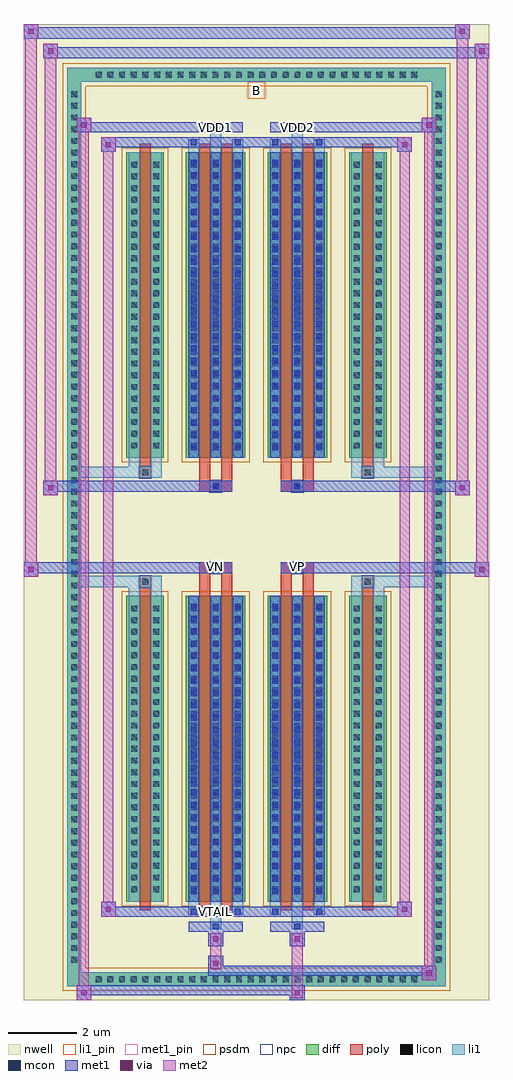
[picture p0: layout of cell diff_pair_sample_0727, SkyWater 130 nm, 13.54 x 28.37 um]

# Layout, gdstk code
import gdstk
lib = gdstk.Library(unit=1e-6, precision=5e-09)
def R(c, l, rs):  # rectangles x0, y0, x1, y1
    for r in rs: c.add(gdstk.rectangle(r[:2], r[2:], *l))
def A(c, l, x, y, w, h, nx, ny, dx, dy):  # array of equal rectangles
    R(c, l, [(x+i*dx, y+j*dy, x+i*dx+w, y+j*dy+h) for i in range(nx) for j in range(ny)])
def P(c, l, *ps):  # polygons
    for p in ps: c.add(gdstk.Polygon(p, *l))
nwell = (64, 20)
diff = (65, 20)
poly = (66, 20)
licon = (66, 44)
li1_pin = (67, 16)
li1 = (67, 20)
mcon = (67, 44)
met1_pin = (68, 16)
met1 = (68, 20)
via = (68, 44)
met2 = (69, 20)
psdm = (94, 20)
npc = (95, 20)

diff_pair_sample_0727 = lib.new_cell('diff_pair_sample_0727')
R(diff_pair_sample_0727, nwell, [(-6.77,-13.75,6.77,14.62), (-4.09,-11.94,-0.01,-0.82), (0.01,-11.94,4.09,-0.82), (-4.09,0.82,-0.01,11.94), (0.01,0.82,4.09,11.94)])
A(diff_pair_sample_0727, diff, -4.795, -13.35, 0.41, 0.41, 28, 2, 0.34, 26.29)
A(diff_pair_sample_0727, diff, -5.5, -12.785, 0.41, 0.41, 1, 75, 0, 0.34)
A(diff_pair_sample_0727, diff, 5.09, -12.785, 0.41, 0.41, 1, 75, 0, 0.34)
R(diff_pair_sample_0727, diff, [(-4.795,-13.35,4.795,-12.94), (-5.5,-12.785,-5.09,12.785), (5.09,-12.785,5.5,12.785), (-3.78,-10.895,-2.69,-2.005), (-2.05,-10.895,-0.32,-2.005), (0.32,-10.895,2.05,-2.005), (2.69,-10.895,3.78,-2.005), (-3.78,2.005,-2.69,10.895), (-2.05,2.005,-0.32,10.895), (0.32,2.005,2.05,10.895), (2.69,2.005,3.78,10.895), (-4.795,12.94,4.795,13.35)])
P(diff_pair_sample_0727, diff, [(5.5,13.35),(-5.5,13.35),(-5.5,-12.94),(-5.09,-12.94),(-5.09,12.94),(5.09,12.94),(5.09,-12.94),(-5.09,-12.94),(-5.5,-12.94),(-5.5,-13.35),(5.5,-13.35)])
R(diff_pair_sample_0727, poly, [(-3.39,-11.145,-3.08,-1.755), (-1.66,-11.145,-1.35,-1.755), (-1.02,-11.145,-0.71,-1.755), (0.71,-11.145,1.02,-1.755), (1.35,-11.145,1.66,-1.755), (3.08,-11.145,3.39,-1.755), (-3.4,-1.755,-3.07,-1.425), (-3.4,-1.755,-3.07,-1.425), (-1.66,-1.755,-1.35,-1.35), (-1.02,-1.755,-0.71,-1.35), (0.71,-1.755,1.02,-1.35), (1.35,-1.755,1.66,-1.35), (3.07,-1.755,3.4,-1.425), (3.07,-1.755,3.4,-1.425), (-1.66,-1.35,-0.71,-1.02), (-1.35,-1.35,-1.02,-1.02), (0.71,-1.35,1.66,-1.02), (1.02,-1.35,1.35,-1.02), (-1.66,1.02,-0.71,1.35), (-1.35,1.02,-1.02,1.35), (0.71,1.02,1.66,1.35), (1.02,1.02,1.35,1.35), (-1.66,1.35,-1.35,1.755), (-1.02,1.35,-0.71,1.755), (0.71,1.35,1.02,1.755), (1.35,1.35,1.66,1.755), (-3.4,1.425,-3.07,1.755), (-3.4,1.425,-3.07,1.755), (3.07,1.425,3.4,1.755), (3.07,1.425,3.4,1.755), (-3.39,1.755,-3.08,11.145), (-1.66,1.755,-1.35,11.145), (-1.02,1.755,-0.71,11.145), (0.71,1.755,1.02,11.145), (1.35,1.755,1.66,11.145), (3.08,1.755,3.39,11.145)])
A(diff_pair_sample_0727, licon, -4.675, -13.23, 0.17, 0.17, 28, 2, 0.34, 26.29)
A(diff_pair_sample_0727, licon, -5.38, -12.665, 0.17, 0.17, 1, 75, 0, 0.34)
A(diff_pair_sample_0727, licon, 5.21, -12.665, 0.17, 0.17, 1, 75, 0, 0.34)
A(diff_pair_sample_0727, licon, -3.64, -10.615, 0.17, 0.17, 1, 25, 0, 0.34)
A(diff_pair_sample_0727, licon, -3, -10.615, 0.17, 0.17, 1, 25, 0, 0.34)
A(diff_pair_sample_0727, licon, -1.91, -10.615, 0.17, 0.17, 3, 25, 0.64, 0.34)
A(diff_pair_sample_0727, licon, 0.46, -10.615, 0.17, 0.17, 3, 25, 0.64, 0.34)
A(diff_pair_sample_0727, licon, 2.83, -10.615, 0.17, 0.17, 1, 25, 0, 0.34)
A(diff_pair_sample_0727, licon, 3.47, -10.615, 0.17, 0.17, 1, 25, 0, 0.34)
A(diff_pair_sample_0727, licon, -3.64, 2.285, 0.17, 0.17, 1, 25, 0, 0.34)
A(diff_pair_sample_0727, licon, -3, 2.285, 0.17, 0.17, 1, 25, 0, 0.34)
A(diff_pair_sample_0727, licon, -1.91, 2.285, 0.17, 0.17, 3, 25, 0.64, 0.34)
A(diff_pair_sample_0727, licon, 0.46, 2.285, 0.17, 0.17, 3, 25, 0.64, 0.34)
A(diff_pair_sample_0727, licon, 2.83, 2.285, 0.17, 0.17, 1, 25, 0, 0.34)
A(diff_pair_sample_0727, licon, 3.47, 2.285, 0.17, 0.17, 1, 25, 0, 0.34)
R(diff_pair_sample_0727, licon, [(-3.32,-1.675,-3.15,-1.505), (3.15,-1.675,3.32,-1.505), (-1.27,-1.27,-1.1,-1.1), (1.1,-1.27,1.27,-1.1), (-1.27,1.1,-1.1,1.27), (1.1,1.1,1.27,1.27), (-3.32,1.505,-3.15,1.675), (3.15,1.505,3.32,1.675)])
R(diff_pair_sample_0727, li1_pin, [(-0.25,12.44,0.25,12.94)])
A(diff_pair_sample_0727, li1, -4.755, -13.31, 0.33, 0.33, 28, 2, 0.34, 26.29)
A(diff_pair_sample_0727, li1, -5.46, -12.745, 0.33, 0.33, 1, 75, 0, 0.34)
A(diff_pair_sample_0727, li1, 5.13, -12.745, 0.33, 0.33, 1, 75, 0, 0.34)
A(diff_pair_sample_0727, li1, -1.99, -10.895, 0.33, 8.89, 3, 2, 0.64, 12.9)
A(diff_pair_sample_0727, li1, 0.38, -10.895, 0.33, 8.89, 3, 2, 0.64, 12.9)
A(diff_pair_sample_0727, li1, -3.72, -10.695, 0.33, 0.33, 1, 25, 0, 0.34)
A(diff_pair_sample_0727, li1, -3.08, -10.695, 0.33, 0.33, 1, 25, 0, 0.34)
A(diff_pair_sample_0727, li1, -1.99, -10.695, 0.33, 0.33, 3, 25, 0.64, 0.34)
A(diff_pair_sample_0727, li1, 0.38, -10.695, 0.33, 0.33, 3, 25, 0.64, 0.34)
A(diff_pair_sample_0727, li1, 2.75, -10.695, 0.33, 0.33, 1, 25, 0, 0.34)
A(diff_pair_sample_0727, li1, 3.39, -10.695, 0.33, 0.33, 1, 25, 0, 0.34)
A(diff_pair_sample_0727, li1, -1.91, -10.675, 0.17, 0.17, 3, 24, 0.64, 0.36)
A(diff_pair_sample_0727, li1, -1.91, -10.675, 0.17, 8.45, 3, 2, 0.64, 12.9)
A(diff_pair_sample_0727, li1, 0.46, -10.675, 0.17, 0.17, 3, 24, 0.64, 0.36)
A(diff_pair_sample_0727, li1, 0.46, -10.675, 0.17, 8.45, 3, 2, 0.64, 12.9)
A(diff_pair_sample_0727, li1, -3.72, 2.205, 0.33, 0.33, 1, 25, 0, 0.34)
A(diff_pair_sample_0727, li1, -3.08, 2.205, 0.33, 0.33, 1, 25, 0, 0.34)
A(diff_pair_sample_0727, li1, -1.99, 2.205, 0.33, 0.33, 3, 25, 0.64, 0.34)
A(diff_pair_sample_0727, li1, 0.38, 2.205, 0.33, 0.33, 3, 25, 0.64, 0.34)
A(diff_pair_sample_0727, li1, 2.75, 2.205, 0.33, 0.33, 1, 25, 0, 0.34)
A(diff_pair_sample_0727, li1, 3.39, 2.205, 0.33, 0.33, 1, 25, 0, 0.34)
A(diff_pair_sample_0727, li1, -1.91, 2.225, 0.17, 0.17, 3, 24, 0.64, 0.36)
A(diff_pair_sample_0727, li1, 0.46, 2.225, 0.17, 0.17, 3, 24, 0.64, 0.36)
R(diff_pair_sample_0727, li1, [(-5.5,-13.35,-5.09,-12.94), (-5.5,-13.35,-5.09,-12.94), (-5.09,-13.35,5.09,-12.94), (5.09,-13.35,5.5,-12.94), (5.09,-13.35,5.5,-12.94), (-5.5,-12.94,-5.09,12.94), (5.09,-12.94,5.5,12.94), (-1.35,-11.7,-1.02,-10.895), (-1.27,-11.7,-1.1,-11.53), (1.02,-11.7,1.35,-10.895), (1.1,-11.7,1.27,-11.53), (-1.99,-11.27,-1.66,-10.895), (-1.91,-11.27,-1.74,-11.1), (-0.71,-11.27,-0.38,-10.895), (-0.63,-11.27,-0.46,-11.1), (0.38,-11.27,0.71,-10.895), (0.46,-11.27,0.63,-11.1), (1.66,-11.27,1.99,-10.895), (1.74,-11.27,1.91,-11.1), (-3.72,-10.895,-3.39,-2.005), (-3.08,-10.895,-2.75,-2.005), (2.75,-10.895,3.08,-2.005), (3.39,-10.895,3.72,-2.005), (-3.72,-2.005,-3.39,-1.425), (-3.08,-2.005,-2.75,-1.425), (2.75,-2.005,3.08,-1.425), (3.39,-2.005,3.72,-1.425), (-5.5,-1.755,-3.4,-1.425), (-3.72,-1.755,-3.4,-1.425), (-3.4,-1.755,-3.07,-1.425), (-3.07,-1.755,-2.75,-1.425), (2.75,-1.755,3.07,-1.425), (3.07,-1.755,3.4,-1.425), (3.07,-1.755,5.5,-1.425), (3.4,-1.755,3.72,-1.425), (-1.35,-1.35,-1.02,-1.02), (1.02,-1.35,1.35,-1.02), (-1.35,1.02,-1.02,1.35), (1.02,1.02,1.35,1.35), (-5.5,1.425,-3.4,1.755), (-3.72,1.425,-3.4,1.755), (-3.72,1.425,-3.39,2.005), (-3.4,1.425,-3.07,1.755), (-3.08,1.425,-2.75,2.005), (-3.07,1.425,-2.75,1.755), (2.75,1.425,3.07,1.755), (2.75,1.425,3.08,2.005), (3.07,1.425,3.4,1.755), (3.07,1.425,5.5,1.755), (3.39,1.425,3.72,2.005), (3.4,1.425,3.72,1.755), (-3.72,2.005,-3.39,10.895), (-3.08,2.005,-2.75,10.895), (2.75,2.005,3.08,10.895), (3.39,2.005,3.72,10.895), (-1.99,10.895,-1.66,11.27), (-1.35,10.895,-1.02,11.7), (-0.71,10.895,-0.38,11.27), (0.38,10.895,0.71,11.27), (1.02,10.895,1.35,11.7), (1.66,10.895,1.99,11.27), (-1.91,11.1,-1.74,11.27), (-0.63,11.1,-0.46,11.27), (0.46,11.1,0.63,11.27), (1.74,11.1,1.91,11.27), (-1.27,11.53,-1.1,11.7), (1.1,11.53,1.27,11.7), (-5.5,12.94,-5.09,13.35), (-5.5,12.94,-5.09,13.35), (-5.09,12.94,5.09,13.35), (5.09,12.94,5.5,13.35), (5.09,12.94,5.5,13.35)])
A(diff_pair_sample_0727, mcon, -1.91, -10.675, 0.17, 0.17, 3, 24, 0.64, 0.36)
A(diff_pair_sample_0727, mcon, 0.46, -10.675, 0.17, 0.17, 3, 24, 0.64, 0.36)
A(diff_pair_sample_0727, mcon, -1.91, 2.225, 0.17, 0.17, 3, 24, 0.64, 0.36)
A(diff_pair_sample_0727, mcon, 0.46, 2.225, 0.17, 0.17, 3, 24, 0.64, 0.36)
R(diff_pair_sample_0727, mcon, [(-1.27,-11.7,-1.1,-11.53), (1.1,-11.7,1.27,-11.53), (-1.91,-11.27,-1.74,-11.1), (-0.63,-11.27,-0.46,-11.1), (0.46,-11.27,0.63,-11.1), (1.74,-11.27,1.91,-11.1), (-1.27,-1.27,-1.1,-1.1), (1.1,-1.27,1.27,-1.1), (-1.27,1.1,-1.1,1.27), (1.1,1.1,1.27,1.27), (-1.91,11.1,-1.74,11.27), (-0.63,11.1,-0.46,11.27), (0.46,11.1,0.63,11.27), (1.74,11.1,1.91,11.27), (-1.27,11.53,-1.1,11.7), (1.1,11.53,1.27,11.7)])
R(diff_pair_sample_0727, met1_pin, [(-1.32,-11.31,-1.05,-11.04), (-1.32,-1.29,-1.05,-1.02), (1.05,-1.29,1.32,-1.02), (-1.32,11.49,-1.05,11.76), (1.05,11.49,1.32,11.76)])
A(diff_pair_sample_0727, met1, -1.97, -10.895, 0.29, 8.89, 3, 2, 0.64, 12.9)
A(diff_pair_sample_0727, met1, 0.4, -10.895, 0.29, 8.89, 3, 2, 0.64, 12.9)
A(diff_pair_sample_0727, met1, -1.97, -10.735, 0.29, 0.29, 3, 24, 0.64, 0.36)
A(diff_pair_sample_0727, met1, 0.4, -10.735, 0.29, 0.29, 3, 24, 0.64, 0.36)
A(diff_pair_sample_0727, met1, -1.97, 2.165, 0.29, 0.29, 3, 24, 0.64, 0.36)
A(diff_pair_sample_0727, met1, 0.4, 2.165, 0.29, 0.29, 3, 24, 0.64, 0.36)
R(diff_pair_sample_0727, met1, [(-5.23,-13.75,-4.8,-13.32), (0.97,-13.75,1.4,-13.32), (-5.23,-13.61,1.4,-13.32), (4.8,-13.18,5.23,-12.75), (-1.4,-13.04,5.23,-12.75), (-1.4,-12.9,-0.97,-12.47), (-1.4,-12.19,-0.97,-11.76), (0.97,-12.19,1.4,-11.76), (-1.97,-11.76,-0.4,-11.47), (-1.33,-11.76,-1.04,-11.47), (0.4,-11.76,1.97,-11.47), (1.04,-11.76,1.33,-11.47), (-4.52,-11.33,-4.09,-10.9), (-4.52,-11.33,-1.97,-11.04), (-1.97,-11.33,-1.68,-11.04), (-1.97,-11.33,-0.4,-11.04), (-0.69,-11.33,-0.4,-11.04), (-0.4,-11.33,0.4,-11.04), (0.4,-11.33,0.69,-11.04), (0.4,-11.33,1.97,-11.04), (1.68,-11.33,1.97,-11.04), (1.97,-11.33,4.52,-11.04), (4.09,-11.33,4.52,-10.9), (-6.77,-1.45,-6.34,-1.02), (6.34,-1.45,6.77,-1.02), (-6.77,-1.35,-0.71,-1.02), (-1.66,-1.35,-0.71,-1.02), (0.71,-1.35,1.66,-1.02), (0.71,-1.35,6.77,-1.02), (-1.33,-1.33,-1.04,-1.04), (1.04,-1.33,1.33,-1.04), (-6.2,0.92,-5.77,1.35), (5.77,0.92,6.2,1.35), (-6.2,1.02,-1.66,1.35), (-1.66,1.02,-0.71,1.35), (0.71,1.02,1.66,1.35), (1.66,1.02,6.2,1.35), (-1.33,1.04,-1.04,1.33), (1.04,1.04,1.33,1.33), (-4.52,10.9,-4.09,11.33), (4.09,10.9,4.52,11.33), (-4.52,11.04,-1.97,11.33), (-1.97,11.04,-1.68,11.33), (-1.97,11.04,-0.4,11.33), (-0.69,11.04,-0.4,11.33), (-0.4,11.04,0.4,11.33), (0.4,11.04,0.69,11.33), (0.4,11.04,1.97,11.33), (1.68,11.04,1.97,11.33), (1.97,11.04,4.52,11.33), (-5.23,11.47,-4.8,11.9), (-5.23,11.47,-1.97,11.76), (-1.97,11.47,-0.4,11.76), (-1.33,11.47,-1.04,11.76), (0.4,11.47,1.97,11.76), (1.04,11.47,1.33,11.76), (1.97,11.47,5.23,11.76), (4.8,11.47,5.23,11.9), (-6.2,13.62,-5.77,14.05), (-6.2,13.62,-4.09,13.95), (-4.09,13.62,4.09,13.95), (4.09,13.62,6.77,13.95), (6.34,13.62,6.77,14.05), (-6.77,14.19,-6.34,14.62), (-6.77,14.19,-4.09,14.52), (-4.09,14.19,4.09,14.52), (4.09,14.19,6.2,14.52), (5.77,14.19,6.2,14.62)])
R(diff_pair_sample_0727, via, [(-5.09,-13.61,-4.94,-13.46), (1.11,-13.61,1.26,-13.46), (4.94,-13.04,5.09,-12.89), (-1.26,-12.76,-1.11,-12.61), (-1.26,-12.05,-1.11,-11.9), (1.11,-12.05,1.26,-11.9), (-4.38,-11.19,-4.23,-11.04), (4.23,-11.19,4.38,-11.04), (-6.63,-1.31,-6.48,-1.16), (6.48,-1.31,6.63,-1.16), (-6.06,1.06,-5.91,1.21), (5.91,1.06,6.06,1.21), (-4.38,11.04,-4.23,11.19), (4.23,11.04,4.38,11.19), (-5.09,11.61,-4.94,11.76), (4.94,11.61,5.09,11.76), (-6.06,13.76,-5.91,13.91), (6.48,13.76,6.63,13.91), (-6.63,14.33,-6.48,14.48), (5.91,14.33,6.06,14.48)])
R(diff_pair_sample_0727, met2, [(-5.23,-13.75,-4.8,-13.32), (-5.16,-13.75,-4.87,11.9), (-4.87,-13.75,-4.8,-13.32), (-5.18,-13.7,-4.85,-13.37), (1.02,-13.7,1.35,-13.37), (1.02,-13.37,1.35,-12.14), (4.8,-13.18,5.23,-12.75), (4.87,-13.18,5.16,11.9), (5.16,-13.18,5.23,-12.75), (4.85,-13.13,5.18,-12.8), (-1.35,-12.85,-1.02,-12.52), (-1.35,-12.52,-1.02,-12.14), (-1.35,-12.14,-1.02,-11.81), (1.02,-12.14,1.35,-11.81), (-4.52,-11.33,-4.09,-10.9), (-4.45,-11.33,-4.16,11.33), (-4.16,-11.33,-4.09,-10.9), (4.09,-11.33,4.52,-10.9), (4.16,-11.33,4.45,11.33), (4.45,-11.33,4.52,-10.9), (-4.47,-11.28,-4.14,-10.95), (4.14,-11.28,4.47,-10.95), (-6.77,-1.45,-6.34,-1.02), (-6.72,-1.45,-6.39,14.62), (-6.39,-1.45,-6.34,-1.02), (6.34,-1.45,6.77,-1.02), (6.39,-1.45,6.72,14.05), (6.72,-1.45,6.77,-1.02), (-6.72,-1.4,-6.39,-1.07), (6.39,-1.4,6.72,-1.07), (-6.2,0.92,-5.77,1.35), (-6.15,0.92,-5.82,14.05), (-5.82,0.92,-5.77,1.35), (5.77,0.92,6.2,1.35), (5.82,0.92,6.15,14.62), (6.15,0.92,6.2,1.35), (-6.15,0.97,-5.82,1.3), (5.82,0.97,6.15,1.3), (-4.52,10.9,-4.09,11.33), (-4.16,10.9,-4.09,11.33), (4.09,10.9,4.52,11.33), (4.45,10.9,4.52,11.33), (-4.47,10.95,-4.14,11.28), (4.14,10.95,4.47,11.28), (-5.23,11.47,-4.8,11.9), (-4.87,11.47,-4.8,11.9), (4.8,11.47,5.23,11.9), (5.16,11.47,5.23,11.9), (-5.18,11.52,-4.85,11.85), (4.85,11.52,5.18,11.85), (-6.2,13.62,-5.77,14.05), (-5.82,13.62,-5.77,14.05), (6.34,13.62,6.77,14.05), (6.72,13.62,6.77,14.05), (-6.15,13.67,-5.82,14), (6.39,13.67,6.72,14), (-6.77,14.19,-6.34,14.62), (-6.39,14.19,-6.34,14.62), (5.77,14.19,6.2,14.62), (6.15,14.19,6.2,14.62), (-6.72,14.24,-6.39,14.57), (5.82,14.24,6.15,14.57)])
R(diff_pair_sample_0727, psdm, [(-3.91,-11.025,-2.56,-1.875), (-2.18,-11.025,-0.19,-1.875), (0.19,-11.025,2.18,-1.875), (2.56,-11.025,3.91,-1.875), (-3.91,1.875,-2.56,11.025), (-2.18,1.875,-0.19,11.025), (0.19,1.875,2.18,11.025), (2.56,1.875,3.91,11.025)])
P(diff_pair_sample_0727, psdm, [(5.63,13.48),(-5.63,13.48),(-5.63,-12.81),(-4.96,-12.81),(-4.96,12.81),(4.96,12.81),(4.96,-12.81),(-4.96,-12.81),(-5.63,-12.81),(-5.63,-13.48),(5.63,-13.48)])
R(diff_pair_sample_0727, npc, [(-3.42,-1.775,-3.05,-1.405), (3.05,-1.775,3.42,-1.405), (-1.37,-1.37,-1,-1), (1,-1.37,1.37,-1), (-1.37,1,-1,1.37), (1,1,1.37,1.37), (-3.42,1.405,-3.05,1.775), (3.05,1.405,3.42,1.775)])
diff_pair_sample_0727.add(gdstk.Label('VTAIL', (-1.185,-11.175), layer=68, texttype=5))
diff_pair_sample_0727.add(gdstk.Label('VN', (-1.185,-1.155), layer=68, texttype=5))
diff_pair_sample_0727.add(gdstk.Label('VP', (1.185,-1.155), layer=68, texttype=5))
diff_pair_sample_0727.add(gdstk.Label('B', (0,12.69), layer=67, texttype=5))
diff_pair_sample_0727.add(gdstk.Label('VDD2', (1.185,11.625), layer=68, texttype=5))
diff_pair_sample_0727.add(gdstk.Label('VDD1', (-1.185,11.625), layer=68, texttype=5))

lib.write_gds('diff_pair_sample_0727.gds')
